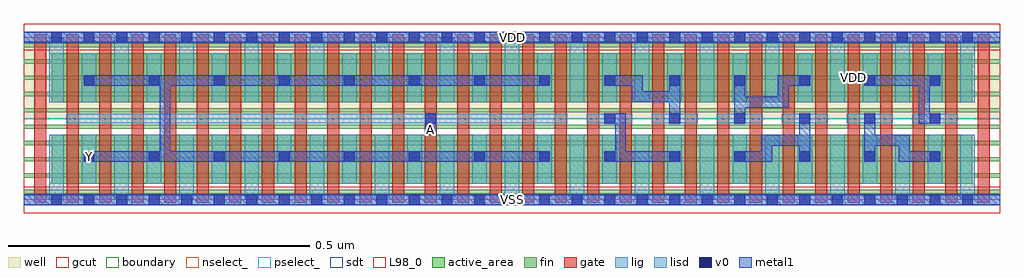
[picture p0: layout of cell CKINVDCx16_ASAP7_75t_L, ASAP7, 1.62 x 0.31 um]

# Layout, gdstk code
import gdstk
lib = gdstk.Library(unit=1e-6, precision=2.5e-10)
def R(c, l, rs):  # rectangles x0, y0, x1, y1
    for r in rs: c.add(gdstk.rectangle(r[:2], r[2:], *l))
def A(c, l, x, y, w, h, nx, ny, dx, dy):  # array of equal rectangles
    R(c, l, [(x+i*dx, y+j*dy, x+i*dx+w, y+j*dy+h) for i in range(nx) for j in range(ny)])
def P(c, l, *ps):  # polygons
    for p in ps: c.add(gdstk.Polygon(p, *l))
well = (1, 0)
fin = (2, 0)
gate = (7, 0)
gcut = (10, 0)
active_area = (11, 0)
nselect_ = (12, 0)
pselect_ = (13, 0)
lig = (16, 0)
lisd = (17, 0)
v0 = (18, 0)
metal1 = (19, 0)
sdt = (88, 0)
L98_0 = (98, 0)
boundary = (100, 0)

ckinvdcx16_asap7_75t_l = lib.new_cell('CKINVDCx16_ASAP7_75t_L')
R(ckinvdcx16_asap7_75t_l, well, [(0,0.135,1.62,0.27)])
A(ckinvdcx16_asap7_75t_l, fin, 0, 0.01, 1.62, 0.007, 1, 10, 0, 0.027)
A(ckinvdcx16_asap7_75t_l, gate, 0.017, -0.005, 0.02, 0.28, 30, 1, 0.054, 0)
R(ckinvdcx16_asap7_75t_l, gcut, [(0,-0.022,1.62,0.022), (0,0.248,1.62,0.292)])
R(ckinvdcx16_asap7_75t_l, active_area, [(0.046,0.027,1.574,0.108), (0.046,0.162,1.574,0.243)])
R(ckinvdcx16_asap7_75t_l, nselect_, [(0,0,1.62,0.135)])
R(ckinvdcx16_asap7_75t_l, pselect_, [(0,0.135,1.62,0.27)])
A(ckinvdcx16_asap7_75t_l, lig, 0.934, 0.127, 0.076, 0.016, 6, 1, 0.108, 0)
R(ckinvdcx16_asap7_75t_l, lig, [(0,-0.008,1.62,0.008), (0.07,0.127,0.902,0.143), (0,0.262,1.62,0.278)])
A(ckinvdcx16_asap7_75t_l, lisd, 0.042, 0, 0.024, 0.108, 15, 2, 0.108, 0.162)
A(ckinvdcx16_asap7_75t_l, lisd, 0.096, 0.027, 0.024, 0.081, 14, 2, 0.108, 0.135)
A(ckinvdcx16_asap7_75t_l, v0, 0.045, -0.009, 0.018, 0.018, 29, 2, 0.054, 0.27)
A(ckinvdcx16_asap7_75t_l, v0, 0.099, 0.063, 0.018, 0.018, 14, 2, 0.108, 0.126)
A(ckinvdcx16_asap7_75t_l, v0, 0.963, 0.126, 0.018, 0.018, 6, 1, 0.108, 0)
R(ckinvdcx16_asap7_75t_l, v0, [(0.666,0.126,0.684,0.144)])
R(ckinvdcx16_asap7_75t_l, metal1, [(0,-0.009,1.62,0.009), (0.666,0.108,0.684,0.144), (0,0.261,1.62,0.279)])
P(ckinvdcx16_asap7_75t_l, metal1, [(1.413,0.09),(1.452,0.09),(1.452,0.063),(1.521,0.063),(1.521,0.081),(1.47,0.081),(1.47,0.108),(1.413,0.108),(1.413,0.144),(1.395,0.144),(1.395,0.063),(1.413,0.063)],
  [(1.242,0.09),(1.287,0.09),(1.287,0.063),(1.305,0.063),(1.305,0.144),(1.287,0.144),(1.287,0.108),(1.224,0.108),(1.224,0.081),(1.179,0.081),(1.179,0.063),(1.242,0.063)],
  [(1.089,0.081),(0.999,0.081),(0.999,0.144),(0.963,0.144),(0.963,0.126),(0.981,0.126),(0.981,0.081),(0.963,0.081),(0.963,0.063),(1.089,0.063)],
  [(1.395,0.189),(1.485,0.189),(1.485,0.126),(1.521,0.126),(1.521,0.144),(1.503,0.144),(1.503,0.189),(1.521,0.189),(1.521,0.207),(1.395,0.207)],
  [(1.197,0.153),(1.269,0.153),(1.269,0.189),(1.305,0.189),(1.305,0.207),(1.251,0.207),(1.251,0.171),(1.197,0.171),(1.197,0.207),(1.179,0.207),(1.179,0.126),(1.197,0.126)],
  [(1.089,0.207),(1.071,0.207),(1.071,0.18),(1.027,0.18),(1.027,0.207),(0.963,0.207),(0.963,0.189),(1.009,0.189),(1.009,0.162),(1.071,0.162),(1.071,0.126),(1.089,0.126)],
  [(0.873,0.081),(0.243,0.081),(0.243,0.189),(0.873,0.189),(0.873,0.207),(0.099,0.207),(0.099,0.189),(0.225,0.189),(0.225,0.081),(0.099,0.081),(0.099,0.063),(0.873,0.063)])
A(ckinvdcx16_asap7_75t_l, sdt, 0.042, 0.027, 0.024, 0.081, 29, 2, 0.054, 0.135)
R(ckinvdcx16_asap7_75t_l, L98_0, [(0,0,1.62,0.27)])
R(ckinvdcx16_asap7_75t_l, boundary, [(0,0,1.62,0.27)])
ckinvdcx16_asap7_75t_l.add(gdstk.Label('Y', (0.108,0.072), layer=19, texttype=251))
ckinvdcx16_asap7_75t_l.add(gdstk.Label('A', (0.675,0.117), layer=19, texttype=251))
ckinvdcx16_asap7_75t_l.add(gdstk.Label('VSS', (0.81,0), layer=19, texttype=251))
ckinvdcx16_asap7_75t_l.add(gdstk.Label('VDD', (0.81,0.27), layer=19, texttype=251))
ckinvdcx16_asap7_75t_l.add(gdstk.Label('VDD', (1.377,0.2025), layer=1, texttype=251))
ckinvdcx16_asap7_75t_l.add(gdstk.Label('VSS', (1.863,0.2025), layer=3, texttype=251))

lib.write_gds('CKINVDCx16_ASAP7_75t_L.gds')
